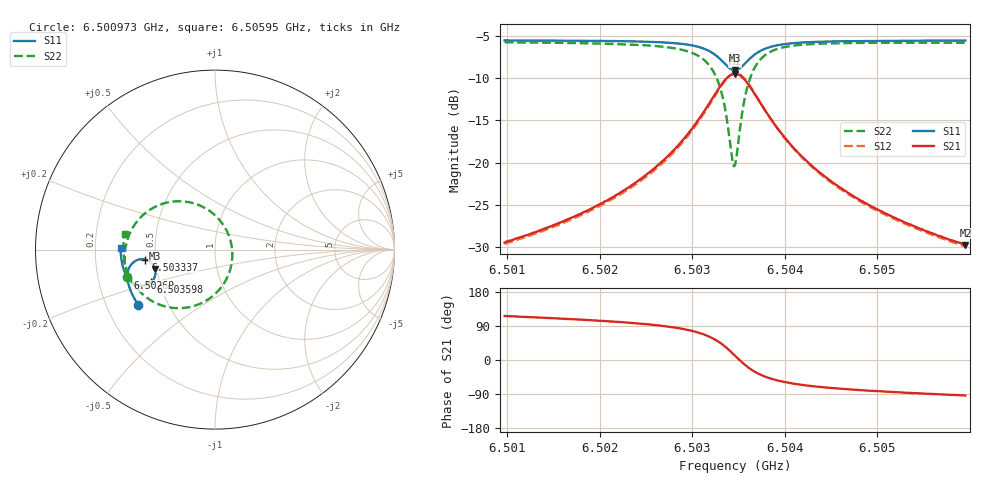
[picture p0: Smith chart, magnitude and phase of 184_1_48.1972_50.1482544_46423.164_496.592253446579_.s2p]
#  HZ  S  RI  R  50.00
! Rohde & Schwarz Vector Network Analyzer
! Rohde-Schwarz,ZNB20-2Port,1311601062101988,3.16
! Created: UTC 3/20/2024, 11:44:15 AM
! freq[Hz]  re:S11  im:S11  re:S21  im:S21  re:S12  im:S12  re:S22  im:S22
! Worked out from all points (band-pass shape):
!   401 points, 6.500973 GHz to 6.50595 GHz, reference 50 ohm
!   highest |S21| = -9.51 dB at 6.503461 GHz (marker M1); lowest = -29.7 dB at 6.50595 GHz (marker M2)
!   |S21| within 3 dB of the highest: 6.503212 GHz to 6.50371 GHz (498.1 kHz wide, 0.00766 % of centre)
!   lowest |S11| = -9.1 dB at 6.503461 GHz (marker M3), VSWR 2.08, Z = 24.5 - j5.89 ohm
!   |S11| at or under -10 dB: nowhere
!   |S22| runs from -20.4 to -5.8 dB; largest |S21 - S12| = 0.012
!   S11 on the Smith chart (normalised r, x): 6.500973 GHz: 0.34, -0.29; 6.50269 GHz: 0.33, -0.14; 6.503337 GHz: 0.44, -0.06; 6.503598 GHz: 0.45, -0.19; 6.50595 GHz: 0.31, +0.01
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6.5009732e9  -0.4272 -0.3077  -0.0149 0.0304  -0.0131 0.0305  -0.4907 -0.152
6.5018067e9  -0.4629 -0.2458  -0.0142 0.0485  -0.0116 0.0479  -0.5032 -0.0627
6.5022546e9  -0.4786 -0.206  -0.0114 0.0674  -0.00832 0.0662  -0.5002 0.00124
6.5026403e9  -0.4876 -0.1633  -0.00192 0.0978  0.00173 0.0954  -0.4796 0.079
6.5026901e9  -0.4881 -0.1566  0.000521 0.1036  0.00418 0.1009  -0.4743 0.0915
6.5029514e9  -0.4837 -0.1153  0.0271 0.1451  0.0307 0.1405  -0.419 0.1745
6.503138e9  -0.4618 -0.0772  0.0822 0.1875  0.0847 0.1812  -0.3134 0.2476
6.50325e9  -0.4285 -0.0564  0.1527 0.2049  0.1534 0.1987  -0.1866 0.2692
6.503337e9  -0.3874 -0.0552  0.2333 0.1879  0.2337 0.1829  -0.0472 0.2269
6.5034241e9  -0.3451 -0.0839  0.3108 0.114  0.3131 0.1094  0.0759 0.0814
6.503449e9  -0.3373 -0.098  0.3241 0.0827  0.3271 0.0773  0.0926 0.022
6.5034615e9  -0.3345 -0.1056  0.3282 0.0657  0.3316 0.06  0.0962 -0.00915
6.5034863e9  -0.3315 -0.1215  0.3316 0.0317  0.3353 0.0245  0.0936 -0.0717
6.5035237e9  -0.3338 -0.1453  0.3243 -0.018  0.3274 -0.027  0.0663 -0.1593
6.5035983e9  -0.3558 -0.1817  0.2782 -0.0935  0.2779 -0.1047  -0.0425 -0.2803
6.5037103e9  -0.4009 -0.2013  0.1924 -0.1381  0.187 -0.1477  -0.216 -0.326
6.503872e9  -0.4475 -0.1917  0.1095 -0.1344  0.1024 -0.1396  -0.3652 -0.2779
6.5040462e9  -0.4751 -0.1703  0.0646 -0.114  0.0582 -0.1162  -0.438 -0.2121
6.504295e9  -0.4959 -0.1404  0.0343 -0.0891  0.0293 -0.0896  -0.4818 -0.1391
6.5046558e9  -0.5111 -0.1025  0.0155 -0.0662  0.0121 -0.0657  -0.5037 -0.0659
6.5051286e9  -0.5211 -0.0585  0.0051 -0.0488  0.00281 -0.0479  -0.5105 0.00193
6.5059498e9  -0.5259 0.0112  -0.00212 -0.0326  -0.00335 -0.032  -0.5027 0.0895
